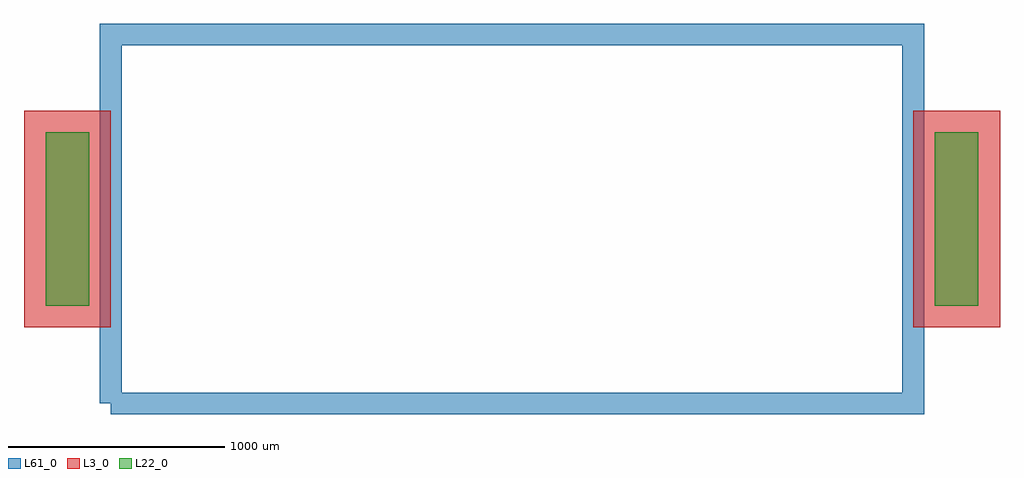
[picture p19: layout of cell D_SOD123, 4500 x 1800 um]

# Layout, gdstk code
import gdstk
lib = gdstk.Library(unit=1e-6, precision=1e-09)
def R(c, l, rs):  # rectangles x0, y0, x1, y1
    for r in rs: c.add(gdstk.rectangle(r[:2], r[2:], *l))
L3_0 = (3, 0)
L22_0 = (22, 0)
L61_0 = (61, 0)

d_sod123 = lib.new_cell('D_SOD123')
R(d_sod123, L3_0, [(-2250,-500,-1850,500), (1850,-500,2250,500)])
R(d_sod123, L22_0, [(-2150,-400,-1950,400), (1950,-400,2150,400)])
d_sod123.add(gdstk.FlexPath([(-1850,-850),(1850,-850),(1850,850),(-1850,850),(-1850,-850)], 100, ends="flush", simple_path=True, layer=61, datatype=0))  # L61_0

lib.write_gds('D_SOD123.gds')
